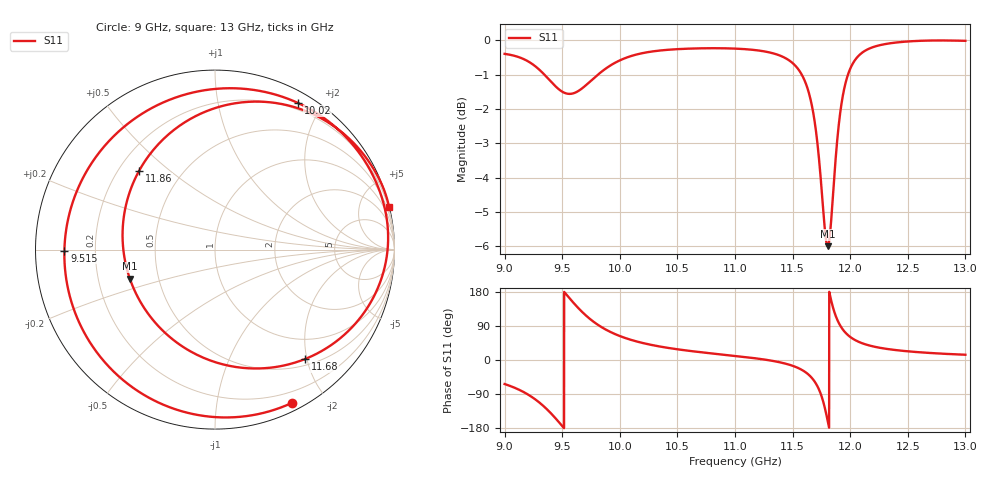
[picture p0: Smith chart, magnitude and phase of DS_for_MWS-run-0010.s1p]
! TOUCHSTONE file generated by CST DESIGN STUDIO
! Date and time: Tue Feb  4 12:43:47 2025
! Project name: C:\Work\MatlabApps\UnitCellOptimizationMatlab\CST\unitcell.cst
! Tree item: Tasks\Sweep1\SPara1\S-Parameters
! Header version: 2024
! Port assignment regex: !\s*Touchstone port\s*([0-9]+)\s*=\s*(CST MWS port|CST DES external port|CST DES block port)\s*(.+)\s* \(\"(.*)\"\)(\s*mode\s*([0-9]+))?.*
! Touchstone port assignment:
! Touchstone port 1 = CST DES external port 1 ("")
# GHz S MA R 50
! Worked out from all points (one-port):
!   4001 points, 9 GHz to 13 GHz, reference 50 ohm
!   lowest |S11| = -6.0 dB at 11.8 GHz (marker M1), VSWR 3.01, Z = 17 - j7.34 ohm
!   |S11| at or under -10 dB: nowhere
!   S11 on the Smith chart (normalised r, x): 9 GHz: 0.08, -1.61; 9.515 GHz: 0.09, -0.00; 10.02 GHz: 0.12, +1.71; 11.68 GHz: 0.61, -1.97; 11.86 GHz: 0.28, +0.40; 13 GHz: 0.06, +8.22
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9  0.9555 -63.4
9.142  0.9425 -80.9
9.29  0.9096 -109.4
9.389  0.8753 -136.5
9.5  0.8417 -174.2
9.515  0.8391 -179.6
9.628  0.8414 140.9
9.727  0.8663 111.9
9.841  0.8998 86.8
10  0.9348 63.3
10.024  0.9387 60.5
10.228  0.96 42.8
10.5  0.9707 28.3
11  0.9725 10.8
11.304  0.9597 -1.1
11.5  0.9264 -15.3
11.603  0.8748 -30.3
11.676  0.7896 -50.5
11.748  0.6179 -92.5
11.776  0.5394 -121.6
11.805  0.5013 -161.2
11.829  0.5315 164.7
11.855  0.6094 134.0
11.914  0.7858 90.6
12  0.9088 60.9
12.171  0.9735 37.9
12.5  0.996 22.9
13  0.9982 13.9
